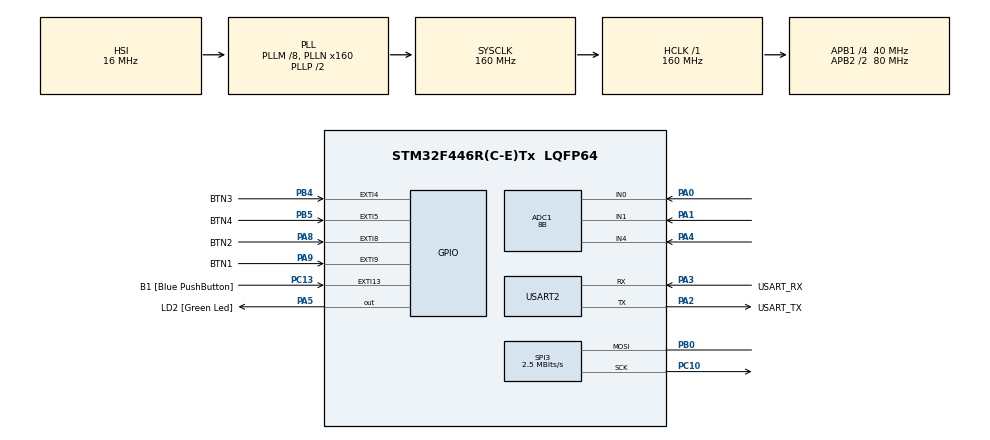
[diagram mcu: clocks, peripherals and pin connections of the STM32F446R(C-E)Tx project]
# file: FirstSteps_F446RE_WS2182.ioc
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ADC1.Channel-0\#ChannelRegularConversion=ADC_CHANNEL_0
ADC1.Channel-1\#ChannelRegularConversion=ADC_CHANNEL_1
ADC1.Channel-2\#ChannelRegularConversion=ADC_CHANNEL_4
ADC1.NbrOfConversion=3
ADC1.NbrOfConversionFlag=1
ADC1.Rank-0\#ChannelRegularConversion=1
ADC1.Rank-1\#ChannelRegularConversion=2
ADC1.Rank-2\#ChannelRegularConversion=3
ADC1.Resolution=ADC_RESOLUTION_8B
ADC1.SamplingTime-0\#ChannelRegularConversion=ADC_SAMPLETIME_480CYCLES
ADC1.SamplingTime-1\#ChannelRegularConversion=ADC_SAMPLETIME_480CYCLES
ADC1.SamplingTime-2\#ChannelRegularConversion=ADC_SAMPLETIME_480CYCLES
ADC1.ScanConvMode=ENABLE
ADC1.master=1
Dma.ADC1.0.Direction=DMA_PERIPH_TO_MEMORY
Dma.ADC1.0.FIFOMode=DMA_FIFOMODE_DISABLE
Dma.ADC1.0.Instance=DMA2_Stream0
Dma.ADC1.0.MemDataAlignment=DMA_MDATAALIGN_HALFWORD
Dma.ADC1.0.MemInc=DMA_MINC_ENABLE
Dma.ADC1.0.Mode=DMA_NORMAL
Dma.ADC1.0.PeriphDataAlignment=DMA_PDATAALIGN_HALFWORD
Dma.ADC1.0.PeriphInc=DMA_PINC_DISABLE
Dma.ADC1.0.Priority=DMA_PRIORITY_LOW
Dma.Request0=ADC1
Dma.Request1=SPI3_TX
Dma.SPI3_TX.1.Direction=DMA_MEMORY_TO_PERIPH
Dma.SPI3_TX.1.FIFOMode=DMA_FIFOMODE_DISABLE
Dma.SPI3_TX.1.Instance=DMA1_Stream5
Dma.SPI3_TX.1.MemDataAlignment=DMA_MDATAALIGN_BYTE
Dma.SPI3_TX.1.MemInc=DMA_MINC_ENABLE
Dma.SPI3_TX.1.Mode=DMA_NORMAL
Dma.SPI3_TX.1.PeriphDataAlignment=DMA_PDATAALIGN_BYTE
Dma.SPI3_TX.1.PeriphInc=DMA_PINC_DISABLE
Dma.SPI3_TX.1.Priority=DMA_PRIORITY_LOW
Mcu.Family=STM32F4
Mcu.Name=STM32F446R(C-E)Tx
Mcu.Package=LQFP64
NVIC.ADC_IRQn=true\:0\:0\:false\:false\:true\:true\:true\:true
NVIC.DMA1_Stream5_IRQn=true\:0\:0\:false\:false\:true\:false\:true\:true
NVIC.DMA2_Stream0_IRQn=true\:0\:0\:false\:false\:true\:false\:true\:true
NVIC.EXTI4_IRQn=true\:0\:0\:false\:false\:true\:true\:true\:true
NVIC.EXTI9_5_IRQn=true\:0\:0\:false\:false\:true\:true\:true\:true
NVIC.PriorityGroup=NVIC_PRIORITYGROUP_0
NVIC.TIM3_IRQn=true\:0\:0\:false\:false\:true\:true\:true\:true
NVIC.USART2_IRQn=true\:0\:0\:true\:false\:true\:true\:true\:true
PA0-WKUP.Signal=ADCx_IN0
PA1.Signal=ADCx_IN1
PA13.GPIO_Label=TMS
PA13.Mode=Serial_Wire
PA13.Signal=SYS_JTMS-SWDIO
PA14.GPIO_Label=TCK
PA14.Mode=Serial_Wire
PA14.Signal=SYS_JTCK-SWCLK
PA2.GPIO_Label=USART_TX
PA2.Mode=Asynchronous
PA2.Signal=USART2_TX
PA3.GPIO_Label=USART_RX
PA3.Mode=Asynchronous
PA3.Signal=USART2_RX
PA4.Signal=ADCx_IN4
PA5.GPIO_Label=LD2 [Green Led]
PA5.Signal=GPIO_Output
PA8.GPIO_Label=BTN2
PA8.GPIO_ModeDefaultEXTI=GPIO_MODE_IT_FALLING
PA8.GPIO_PuPd=GPIO_PULLUP
PA8.Signal=GPXTI8
PA9.GPIO_Label=BTN1
PA9.GPIO_ModeDefaultEXTI=GPIO_MODE_IT_RISING_FALLING
PA9.GPIO_PuPd=GPIO_PULLUP
PA9.Signal=GPXTI9
PB0.Mode=Simplex_Bidirectional_Master
PB0.Signal=SPI3_MOSI
PB3.GPIO_Label=SWO
PB3.Signal=SYS_JTDO-SWO
PB4.GPIO_Label=BTN3
PB4.GPIO_ModeDefaultEXTI=GPIO_MODE_IT_FALLING
PB4.GPIO_PuPd=GPIO_PULLUP
PB4.Signal=GPXTI4
PB5.GPIO_Label=BTN4
PB5.GPIO_ModeDefaultEXTI=GPIO_MODE_IT_FALLING
PB5.GPIO_PuPd=GPIO_PULLUP
PB5.Signal=GPXTI5
PC10.Mode=Simplex_Bidirectional_Master
PC10.Signal=SPI3_SCK
PC13.GPIO_Label=B1 [Blue PushButton]
PC13.GPIO_ModeDefaultEXTI=GPIO_MODE_IT_FALLING
PC13.Signal=GPXTI13
PC14-OSC32_IN.Mode=LSE-External-Oscillator
PC14-OSC32_IN.Signal=RCC_OSC32_IN
PC15-OSC32_OUT.Mode=LSE-External-Oscillator
PC15-OSC32_OUT.Signal=RCC_OSC32_OUT
PH0-OSC_IN.Mode=HSE-External-Oscillator
PH0-OSC_IN.Signal=RCC_OSC_IN
PH1-OSC_OUT.Mode=HSE-External-Oscillator
PH1-OSC_OUT.Signal=RCC_OSC_OUT
ProjectManager.HeapSize=0x200
ProjectManager.StackSize=0x400
ProjectManager.TargetToolchain=STM32CubeIDE
RCC.48MHZClocksFreq_Value=84000000
RCC.AHBFreq_Value=160000000
RCC.APB1CLKDivider=RCC_HCLK_DIV4
RCC.APB1Freq_Value=40000000
RCC.APB1TimFreq_Value=80000000
RCC.APB2CLKDivider=RCC_HCLK_DIV2
RCC.APB2Freq_Value=80000000
RCC.APB2TimFreq_Value=160000000
RCC.CortexFreq_Value=160000000
RCC.FLatency-AdvancedSettings=FLASH_LATENCY_5
RCC.HCLKFreq_Value=160000000
RCC.HSE_VALUE=8000000
RCC.HSI_VALUE=16000000
RCC.PLLM=8
RCC.PLLN=160
RCC.SYSCLKFreq_VALUE=160000000
RCC.SYSCLKSource=RCC_SYSCLKSOURCE_PLLCLK
RCC.USBFreq_Value=160000000
RCC.VCOOutputFreq_Value=320000000
SH.ADCx_IN0.0=ADC1_IN0,IN0
SH.ADCx_IN1.0=ADC1_IN1,IN1
SH.ADCx_IN4.0=ADC1_IN4,IN4
SPI3.BaudRatePrescaler=SPI_BAUDRATEPRESCALER_16
SPI3.CalculateBaudRate=2.5 MBits/s
SPI3.Direction=SPI_DIRECTION_1LINE
SPI3.Mode=SPI_MODE_MASTER
SPI3.VirtualType=VM_MASTER
TIM2.AutoReloadPreload=TIM_AUTORELOAD_PRELOAD_DISABLE
TIM2.Period=80000-1
TIM2.Prescaler=80-1
TIM3.Period=10000-1
TIM3.Prescaler=8000-1
USART2.VirtualMode=VM_ASYNC
VP_TIM2_VS_ClockSourceINT.Mode=Internal
VP_TIM3_VS_ClockSourceINT.Mode=Internal
board=NUCLEO-F446RE

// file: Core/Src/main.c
/* USER CODE BEGIN Header */
/**
  ******************************************************************************
  * @file           : main.c
  * @brief          : Main program body
  ******************************************************************************
  * @attention
  *
  * Copyright (c) 2024 STMicroelectronics.
  * All rights reserved.
  *
  * This software is licensed under terms that can be found in the LICENSE file
  * in the root directory of this software component.
  * If no LICENSE file comes with this software, it is provided AS-IS.
  *
  ******************************************************************************
  */
/* USER CODE END Header */
#include "main.h"

/* USER CODE BEGIN Includes */
#include "WS2812.h"
#include <math.h>
#include <stdio.h>
/* USER CODE END Includes */

/* USER CODE BEGIN PD */

// NOTE: It is not recommended to enable more than one example

// #define EXAMPLE_1
// #define EXAMPLE_2
// #define EXAMPLE_3
// #define SINGLE_COMET_EFFECT
// #define MULTI_COMET_EFFECT
// #define MANUAL_MULTI_COMET_EFFECT
// #define EXAMPLE_SIMPLE_METER_EFFECT
// #define EXAMPLE_MIRRORED_METER_EFFECT
// #define EXAMPLE_SIMPLE_GATED_STROBE
// #define EXAMPLE_VARIABLE_GATED_STROBE
// #define EXAMPLE_SCROLL_RAINBOW
// #define EXAMPLE_MANUAL_RAINBOW
// #define EXAMPLE_SCROLL_SATURATION
#define EXAMPLE_DRAW_LINE

// Should not be enabled if either EXAMPLE_SIMPLE_METER_EFFECT or EXAMPLE_MIRRORED_METER_EFFECT is enabled
//#define ENABLE_POTS_TO_BACKGROUND_COLOR
/* USER CODE END PD */

ADC_HandleTypeDef hadc1;
DMA_HandleTypeDef hdma_adc1;

SPI_HandleTypeDef hspi3;
DMA_HandleTypeDef hdma_spi3_tx;

TIM_HandleTypeDef htim2;
TIM_HandleTypeDef htim3;

UART_HandleTypeDef huart2;

/* USER CODE BEGIN PV */
uint8_t iterations = 0;

uint16_t rawADCData[3];

#if defined(EXAMPLE_SIMPLE_METER_EFFECT) || defined(EXAMPLE_MIRRORED_METER_EFFECT)
uint8_t meterLevels[] = {0, 0, 0};
#endif

#ifdef EXAMPLE_VARIABLE_GATED_STROBE
uint32_t strobePeriodOffsetTicks = 0;
uint32_t strobeActiveTicks = 0;
#endif

#ifdef EXAMPLE_MANUAL_RAINBOW
static colorHSV hsv = {.hue = 0, .saturation = 1.0f, .value = 0.1f};
int8_t deltaHue = 0;
#endif

volatile uint16_t WS2812FramesSent;

#define UART_TRANSMIT_BUFFER_LENGTH 25
uint8_t UARTTransmitBuffer[UART_TRANSMIT_BUFFER_LENGTH];

/* USER CODE END PV */

void SystemClock_Config(void);
static void MX_GPIO_Init(void);
static void MX_DMA_Init(void);
static void MX_USART2_UART_Init(void);
static void MX_SPI3_Init(void);
static void MX_ADC1_Init(void);
static void MX_TIM2_Init(void);
static void MX_TIM3_Init(void);

/* USER CODE BEGIN 0 */
void HAL_GPIO_EXTI_Callback(uint16_t GPIO_Pin)
{
//	// Disable button interrupts
//	HAL_NVIC_DisableIRQ(EXTI4_IRQn);
//	HAL_NVIC_DisableIRQ(EXTI9_5_IRQn);
//	HAL_NVIC_DisableIRQ(EXTI15_10_IRQn);
//
//	// Start debounce timer
//	HAL_TIM_Base_Start_IT(&htim6);

#ifdef MANUAL_MULTI_COMET_EFFECT
	colorRGB color;

	switch(GPIO_Pin)
	{
		case BTN1_Pin:
			color.red = 96;
			color.green = 0;
			color.blue = 0;

			WS2812_AddComet(color, 2, 1, true);
			break;
		case BTN2_Pin:
			color.red = 0;
			color.green = 96;
			color.blue = 0;

			WS2812_AddComet(color, 2, 1, true);
			break;
		case BTN3_Pin:
			color.red = 0;
			color.green = 0;
			color.blue = 96;

			WS2812_AddComet(color, 2, 1, true);
			break;
		case BTN4_Pin:
			color.red = 96;
			color.green = 96;
			color.blue = 96;

			WS2812_AddComet(color, 2, 1, true);
			break;
	}
#endif

#if defined(EXAMPLE_SIMPLE_GATED_STROBE) || defined(EXAMPLE_VARIABLE_GATED_STROBE)
	if(GPIO_Pin == BTN1_Pin)
	{
		if(!HAL_GPIO_ReadPin(BTN1_GPIO_Port, BTN1_Pin))
		{
			HAL_TIM_Base_Start(&htim2);
		}
		else
		{
			HAL_TIM_Base_Stop(&htim2);
			htim2.Instance->CNT = 0;
		}
	}
#endif
}

void HAL_ADC_ConvCpltCallback(ADC_HandleTypeDef *hadc)
{
#ifdef ENABLE_POTS_TO_BACKGROUND_COLOR
	// TODO: Add threshold or other system to prevent noise picked up by the ADC from turning on the LEDs
	// Masking out the LSBs works, but significantly reduces the resolution of the brightness control

	// >> 3 to scale to comfortable range
//	WS2812_SetBackgroundColor(rawADCData[0] >> 3, rawADCData[1] >> 3, rawADCData[2] >> 3);

	colorRGB rgb = WS2812_HSVToRGB((uint16_t)(((float)rawADCData[0] * 360) / 256.0f), ((float)rawADCData[1]) / 255.0f, ((float)rawADCData[2]) / 255.0f);

	WS2812_SetBackgroundColor(rgb.red, rgb.green, rgb.blue);
#endif
#if defined(EXAMPLE_SIMPLE_METER_EFFECT) || defined(EXAMPLE_MIRRORED_METER_EFFECT)
	meterLevels[0] = rawADCData[0] >> 1;
	meterLevels[1] = rawADCData[1] >> 1;
	meterLevels[2] = rawADCData[2] >> 1;
#endif

#ifdef EXAMPLE_VARIABLE_GATED_STROBE
	strobePeriodOffsetTicks = 80000 + (rawADCData[0] << 9);
	htim2.Instance->ARR = strobePeriodOffsetTicks;

	// Changing the auto-reload register (ARR) with an input clock this fast occasionally allows the count (CNT)
		// register to exceed the ARR and preventing it from resetting at that value
	// As a result, we have to add our own reset condition to prevent this from happening.
	if(htim2.Instance->CNT > htim2.Instance->ARR)
	{
		htim2.Instance->CNT = 0;
	}

	// Map ADC channel 1 to strobe active period
	// ADC is configured in 8-bit mode, so we multiply by the channel value divide by the max value (256)
		// to scale the measured value relative to the period
	// Bit shifting is faster than dividing, so we right shift by 8 instead of dividing by 256
	strobeActiveTicks = (strobePeriodOffsetTicks * rawADCData[1]) >> 8;

	// Reverse active and inactive periods
	strobeActiveTicks = strobePeriodOffsetTicks - strobeActiveTicks;
#endif

#ifdef EXAMPLE_MANUAL_RAINBOW
	hsv.hue = (uint16_t)(((float)rawADCData[0] * 360) / 256.0f);
//	deltaHue = 127 - ((int8_t)(rawADCData[1]));
	deltaHue = (int8_t)(rawADCData[1] >> 1);
#endif
}

#ifdef ENABLE_PERFORMANCE_MONITOR
void HAL_TIM_PeriodElapsedCallback(TIM_HandleTypeDef *htim)
{
	// FPS timer
	if(htim == &htim3)
	{
		// String operations are too slow to have in an ISR, even if preempted by a higher priority interrupt
		sprintf((char *)UARTTransmitBuffer, "%d fps\n", WS2812FramesSent);

		HAL_UART_Transmit_IT(&huart2, UARTTransmitBuffer, UART_TRANSMIT_BUFFER_LENGTH);

		// Reset frame counter
		WS2812FramesSent = 0;
	}
}
#endif

/* USER CODE END 0 */

int main(void)
{

  /* MCU Configuration--------------------------------------------------------*/

  /* Reset of all peripherals, Initializes the Flash interface and the Systick. */
  HAL_Init();

  /* Configure the system clock */
  SystemClock_Config();

  /* Initialize all configured peripherals */
  MX_GPIO_Init();
  MX_DMA_Init();
  MX_USART2_UART_Init();
  MX_SPI3_Init();
  MX_ADC1_Init();
  MX_TIM2_Init();
  MX_TIM3_Init();
  /* USER CODE BEGIN 2 */
  // Initialize all LEDs to off
  WS2812_ClearLEDs();
  WS2812_SetBackgroundColor(0, 0, 0);
  WS2812_SendAll();

#if defined(MULTI_COMET_EFFECT) || defined(MANUAL_MULTI_COMET_EFFECT)
  WS2812_InitMultiCometEffect();
#endif

#ifdef ENABLE_PERFORMANCE_MONITOR
  HAL_TIM_Base_Start_IT(&htim3);
#endif

  /* USER CODE END 2 */

  /* Infinite loop */
  /* USER CODE BEGIN WHILE */
  while (1)
  {
#ifdef EXAMPLE_1
	  // Color values can be between 0 and 255, but 255 is really bright!
	for(int i = 0; i < NUM_LOGICAL_LEDS; i++)
	{
		WS2812_SetLED(i, 8, 0, 0, false);
	}
	WS2812_SendAll();
	HAL_Delay(1000);

	for(int i = 0; i < NUM_LOGICAL_LEDS; i++)
	{
		WS2812_SetLED(i, 0, 8, 0, false);
	}
	WS2812_SendAll();
	HAL_Delay(1000);

	for(int i = 0; i < NUM_LOGICAL_LEDS; i++)
	{
		WS2812_SetLED(i, 0, 0, 8, false);
	}
	WS2812_SendAll();
	HAL_Delay(1000);
#endif
#ifdef EXAMPLE_2
	for(int i = 0; i < 128; i++)
	{
		for(int led = 0; led < NUM_LOGICAL_LEDS; led++)
		{
			WS2812_SetLED(led, i, i, i, false);
		}
		WS2812_SendAll();
		HAL_Delay(10);
	}
	for(int i = 128; i >= 0; i--)
	{
		for(int led = 0; led < NUM_LOGICAL_LEDS; led++)
		{
			WS2812_SetLED(led, i, i, i, false);
		}
		WS2812_SendAll();
		HAL_Delay(10);
	}
#endif
#ifdef EXAMPLE_3
	WS2812_SetLED(0, 64, 64, 64, false);
	WS2812_SendAll();

	uint8_t shiftAmount = 1;
	for(int j = 0; j < NUM_LOGICAL_LEDS / shiftAmount; j++)
	{
		if(j % 10 == 0)
		{
			WS2812_SetLED(0, 64, 64, 64, false);
		}

		WS2812_ShiftLEDs(shiftAmount);
		WS2812_SendAll();
		HAL_Delay(12);
	}
#endif
#ifdef SINGLE_COMET_EFFECT
	WS2812_CometEffect();
	WS2812_SendAll();
	HAL_Delay(10);
#endif
#ifdef MULTI_COMET_EFFECT
	if(iterations > 50)
	{
		iterations = 0;

		colorRGB color;
		color.red = 64;
		color.green = 64;
		color.blue = 64;

		WS2812_AddComet(color, 2, 1, true);
	}
	WS2812_MultiCometEffect();
	WS2812_SendAll();
	iterations++;

	HAL_Delay(16);
#endif
#ifdef MANUAL_MULTI_COMET_EFFECT
	WS2812_MultiCometEffect();
	WS2812_SendAll();
#endif

#ifdef EXAMPLE_SIMPLE_METER_EFFECT
	WS2812_ClearLEDs();

	colorRGB meterColor = {.red = 32, .green = 32, .blue = 0};
	WS2812_SimpleMeterEffect(meterColor, meterLevels[0], false, false, true);
	meterColor.red = 0;
	meterColor.green = 32;
	meterColor.blue = 32;
	WS2812_SimpleMeterEffect(meterColor, meterLevels[1], false, false, true);
	meterColor.red = 32;
	meterColor.green = 0;
	meterColor.blue = 32;
	WS2812_SimpleMeterEffect(meterColor, meterLevels[2], false, false, true);
	WS2812_SendAll();
#endif

#ifdef EXAMPLE_MIRRORED_METER_EFFECT
	WS2812_ClearLEDs();
	colorRGB meterColor = {.red = 32, .green = 32, .blue = 0};
	WS2812_MirroredMeterEffect(meterColor, meterLevels[0], false, false, true);
	meterColor.red = 0;
	meterColor.green = 32;
	meterColor.blue = 32;
	WS2812_MirroredMeterEffect(meterColor, meterLevels[1], true, false, true);
	meterColor.red = 32;
	meterColor.green = 0;
	meterColor.blue = 32;
	WS2812_MirroredMeterEffect(meterColor, meterLevels[2], true, false, true);
	WS2812_SendAll();
#endif

#ifdef EXAMPLE_SIMPLE_GATED_STROBE
	if(htim2.Instance->CNT > 40000)
	{
		WS2812_SetAllLEDs(32, 32, 32);
	}
	else
	{
		WS2812_SetAllLEDs(0, 0, 0);
	}

	WS2812_SendAll();
#endif

#ifdef EXAMPLE_VARIABLE_GATED_STROBE
	if(htim2.Instance->CNT > strobeActiveTicks)
	{
		WS2812_SetAllLEDs(32, 32, 32);
	}
	else
	{
		WS2812_SetAllLEDs(0, 0, 0);
	}

	WS2812_SendAll();
#endif

#ifdef EXAMPLE_SCROLL_RAINBOW
	static colorHSV hsv = {.hue = 0, .saturation = 1.0f, .value = 0.2f};

	hsv.hue = (hsv.hue < 360) ? hsv.hue + 1 : 0;

	WS2812_FillRainbow(hsv, 3);

	WS2812_SendAll();
#endif

#ifdef EXAMPLE_MANUAL_RAINBOW
	WS2812_FillRainbow(hsv, deltaHue);

	WS2812_SendAll();
#endif

#ifdef EXAMPLE_SCROLL_SATURATION
	static colorHSV hsv = {.hue = 245, .saturation = 1.0f, .value = 0.1f};
	const float deltaStartingSaturation = 0.02;
	const float deltaSaturation = 0.05;

	static float startingPhase = 0.0f;

	startingPhase = (2.0f - startingPhase < 0.001) ? 2.0f : startingPhase - deltaStartingSaturation;

	// Fill each LED
	float currentSaturation = hsv.saturation;
	for(int i = 0; i < NUM_LOGICAL_LEDS; i++)
	{
		currentSaturation = 0.5 * sin((i * deltaSaturation + startingPhase) * 3.141) + 0.5;

		colorRGB rgb = WS2812_HSVToRGB(hsv.hue, currentSaturation, hsv.value);
		WS2812_SetLED(i, rgb.red, rgb.green, rgb.blue, false);
	}

	WS2812_SendAll();
#endif

#ifdef EXAMPLE_DRAW_LINE
	static float x = 0.0f;

	WS2812_DrawLine(x, 3.5, 32, 32, 32, false);

	// Increment LED position by small fraction
	x += 0.05f;

	// Wrap LED position
	x = fmodf(x, 30);

	WS2812_SendAll();

	// Clear trailing LEDs
	WS2812_ClearLEDs();

	HAL_Delay(10);
#endif

	HAL_ADC_Start_DMA(&hadc1, (uint32_t *) rawADCData, 3);
    /* USER CODE END WHILE */

  }
}

void SystemClock_Config(void)
{
  RCC_OscInitTypeDef RCC_OscInitStruct = {0};
  RCC_ClkInitTypeDef RCC_ClkInitStruct = {0};

  /** Configure the main internal regulator output voltage
  */
  __HAL_RCC_PWR_CLK_ENABLE();
  __HAL_PWR_VOLTAGESCALING_CONFIG(PWR_REGULATOR_VOLTAGE_SCALE1);

  /** Initializes the RCC Oscillators according to the specified parameters
  * in the RCC_OscInitTypeDef structure.
  */
  RCC_OscInitStruct.OscillatorType = RCC_OSCILLATORTYPE_HSI;
  RCC_OscInitStruct.HSIState = RCC_HSI_ON;
  RCC_OscInitStruct.HSICalibrationValue = RCC_HSICALIBRATION_DEFAULT;
  RCC_OscInitStruct.PLL.PLLState = RCC_PLL_ON;
  RCC_OscInitStruct.PLL.PLLSource = RCC_PLLSOURCE_HSI;
  RCC_OscInitStruct.PLL.PLLM = 8;
  RCC_OscInitStruct.PLL.PLLN = 160;
  RCC_OscInitStruct.PLL.PLLP = RCC_PLLP_DIV2;
  RCC_OscInitStruct.PLL.PLLQ = 2;
  RCC_OscInitStruct.PLL.PLLR = 2;
  if (HAL_RCC_OscConfig(&RCC_OscInitStruct) != HAL_OK)
  {
    Error_Handler();
  }

  /** Initializes the CPU, AHB and APB buses clocks
  */
  RCC_ClkInitStruct.ClockType = RCC_CLOCKTYPE_HCLK|RCC_CLOCKTYPE_SYSCLK
                              |RCC_CLOCKTYPE_PCLK1|RCC_CLOCKTYPE_PCLK2;
  RCC_ClkInitStruct.SYSCLKSource = RCC_SYSCLKSOURCE_PLLCLK;
  RCC_ClkInitStruct.AHBCLKDivider = RCC_SYSCLK_DIV1;
  RCC_ClkInitStruct.APB1CLKDivider = RCC_HCLK_DIV4;
  RCC_ClkInitStruct.APB2CLKDivider = RCC_HCLK_DIV2;

  if (HAL_RCC_ClockConfig(&RCC_ClkInitStruct, FLASH_LATENCY_5) != HAL_OK)
  {
    Error_Handler();
  }
}

static void MX_ADC1_Init(void)
{

  ADC_ChannelConfTypeDef sConfig = {0};

  /** Configure the global features of the ADC (Clock, Resolution, Data Alignment and number of conversion)
  */
  hadc1.Instance = ADC1;
  hadc1.Init.ClockPrescaler = ADC_CLOCK_SYNC_PCLK_DIV4;
  hadc1.Init.Resolution = ADC_RESOLUTION_8B;
  hadc1.Init.ScanConvMode = ENABLE;
  hadc1.Init.ContinuousConvMode = DISABLE;
  hadc1.Init.DiscontinuousConvMode = DISABLE;
  hadc1.Init.ExternalTrigConvEdge = ADC_EXTERNALTRIGCONVEDGE_NONE;
  hadc1.Init.ExternalTrigConv = ADC_SOFTWARE_START;
  hadc1.Init.DataAlign = ADC_DATAALIGN_RIGHT;
  hadc1.Init.NbrOfConversion = 3;
  hadc1.Init.DMAContinuousRequests = DISABLE;
  hadc1.Init.EOCSelection = ADC_EOC_SINGLE_CONV;
  if (HAL_ADC_Init(&hadc1) != HAL_OK)
  {
    Error_Handler();
  }

  /** Configure for the selected ADC regular channel its corresponding rank in the sequencer and its sample time.
  */
  sConfig.Channel = ADC_CHANNEL_0;
  sConfig.Rank = 1;
  sConfig.SamplingTime = ADC_SAMPLETIME_480CYCLES;
  if (HAL_ADC_ConfigChannel(&hadc1, &sConfig) != HAL_OK)
  {
    Error_Handler();
  }

  /** Configure for the selected ADC regular channel its corresponding rank in the sequencer and its sample time.
  */
  sConfig.Channel = ADC_CHANNEL_1;
  sConfig.Rank = 2;
  if (HAL_ADC_ConfigChannel(&hadc1, &sConfig) != HAL_OK)
  {
    Error_Handler();
  }

  /** Configure for the selected ADC regular channel its corresponding rank in the sequencer and its sample time.
  */
  sConfig.Channel = ADC_CHANNEL_4;
  sConfig.Rank = 3;
  if (HAL_ADC_ConfigChannel(&hadc1, &sConfig) != HAL_OK)
  {
    Error_Handler();
  }

}

static void MX_SPI3_Init(void)
{

  /* SPI3 parameter configuration*/
  hspi3.Instance = SPI3;
  hspi3.Init.Mode = SPI_MODE_MASTER;
  hspi3.Init.Direction = SPI_DIRECTION_1LINE;
  hspi3.Init.DataSize = SPI_DATASIZE_8BIT;
  hspi3.Init.CLKPolarity = SPI_POLARITY_LOW;
  hspi3.Init.CLKPhase = SPI_PHASE_1EDGE;
  hspi3.Init.NSS = SPI_NSS_SOFT;
  hspi3.Init.BaudRatePrescaler = SPI_BAUDRATEPRESCALER_16;
  hspi3.Init.FirstBit = SPI_FIRSTBIT_MSB;
  hspi3.Init.TIMode = SPI_TIMODE_DISABLE;
  hspi3.Init.CRCCalculation = SPI_CRCCALCULATION_DISABLE;
  hspi3.Init.CRCPolynomial = 10;
  if (HAL_SPI_Init(&hspi3) != HAL_OK)
  {
    Error_Handler();
  }

}

static void MX_TIM2_Init(void)
{

  TIM_ClockConfigTypeDef sClockSourceConfig = {0};
  TIM_MasterConfigTypeDef sMasterConfig = {0};

  htim2.Instance = TIM2;
  htim2.Init.Prescaler = 80-1;
  htim2.Init.CounterMode = TIM_COUNTERMODE_UP;
  htim2.Init.Period = 80000-1;
  htim2.Init.ClockDivision = TIM_CLOCKDIVISION_DIV1;
  htim2.Init.AutoReloadPreload = TIM_AUTORELOAD_PRELOAD_DISABLE;
  if (HAL_TIM_Base_Init(&htim2) != HAL_OK)
  {
    Error_Handler();
  }
  sClockSourceConfig.ClockSource = TIM_CLOCKSOURCE_INTERNAL;
  if (HAL_TIM_ConfigClockSource(&htim2, &sClockSourceConfig) != HAL_OK)
  {
    Error_Handler();
  }
  sMasterConfig.MasterOutputTrigger = TIM_TRGO_RESET;
  sMasterConfig.MasterSlaveMode = TIM_MASTERSLAVEMODE_DISABLE;
  if (HAL_TIMEx_MasterConfigSynchronization(&htim2, &sMasterConfig) != HAL_OK)
  {
    Error_Handler();
  }

}

static void MX_TIM3_Init(void)
{

  TIM_ClockConfigTypeDef sClockSourceConfig = {0};
  TIM_MasterConfigTypeDef sMasterConfig = {0};

  htim3.Instance = TIM3;
  htim3.Init.Prescaler = 8000-1;
  htim3.Init.CounterMode = TIM_COUNTERMODE_UP;
  htim3.Init.Period = 10000-1;
  htim3.Init.ClockDivision = TIM_CLOCKDIVISION_DIV1;
  htim3.Init.AutoReloadPreload = TIM_AUTORELOAD_PRELOAD_DISABLE;
  if (HAL_TIM_Base_Init(&htim3) != HAL_OK)
  {
    Error_Handler();
  }
  sClockSourceConfig.ClockSource = TIM_CLOCKSOURCE_INTERNAL;
  if (HAL_TIM_ConfigClockSource(&htim3, &sClockSourceConfig) != HAL_OK)
  {
    Error_Handler();
  }
  sMasterConfig.MasterOutputTrigger = TIM_TRGO_RESET;
  sMasterConfig.MasterSlaveMode = TIM_MASTERSLAVEMODE_DISABLE;
  if (HAL_TIMEx_MasterConfigSynchronization(&htim3, &sMasterConfig) != HAL_OK)
  {
    Error_Handler();
  }

}

static void MX_USART2_UART_Init(void)
{

  huart2.Instance = USART2;
  huart2.Init.BaudRate = 115200;
  huart2.Init.WordLength = UART_WORDLENGTH_8B;
  huart2.Init.StopBits = UART_STOPBITS_1;
  huart2.Init.Parity = UART_PARITY_NONE;
  huart2.Init.Mode = UART_MODE_TX_RX;
  huart2.Init.HwFlowCtl = UART_HWCONTROL_NONE;
  huart2.Init.OverSampling = UART_OVERSAMPLING_16;
  if (HAL_UART_Init(&huart2) != HAL_OK)
  {
    Error_Handler();
  }

}

static void MX_DMA_Init(void)
{

  /* DMA controller clock enable */
  __HAL_RCC_DMA2_CLK_ENABLE();
  __HAL_RCC_DMA1_CLK_ENABLE();

  /* DMA interrupt init */
  /* DMA1_Stream5_IRQn interrupt configuration */
  HAL_NVIC_SetPriority(DMA1_Stream5_IRQn, 0, 0);
  HAL_NVIC_EnableIRQ(DMA1_Stream5_IRQn);
  /* DMA2_Stream0_IRQn interrupt configuration */
  HAL_NVIC_SetPriority(DMA2_Stream0_IRQn, 0, 0);
  HAL_NVIC_EnableIRQ(DMA2_Stream0_IRQn);

}

static void MX_GPIO_Init(void)
{
  GPIO_InitTypeDef GPIO_InitStruct = {0};

  /* GPIO Ports Clock Enable */
  __HAL_RCC_GPIOC_CLK_ENABLE();
  __HAL_RCC_GPIOH_CLK_ENABLE();
  __HAL_RCC_GPIOA_CLK_ENABLE();
  __HAL_RCC_GPIOB_CLK_ENABLE();

  /*Configure GPIO pin Output Level */
  HAL_GPIO_WritePin(LD2_GPIO_Port, LD2_Pin, GPIO_PIN_RESET);

  /*Configure GPIO pin : B1_Pin */
  GPIO_InitStruct.Pin = B1_Pin;
  GPIO_InitStruct.Mode = GPIO_MODE_IT_FALLING;
  GPIO_InitStruct.Pull = GPIO_NOPULL;
  HAL_GPIO_Init(B1_GPIO_Port, &GPIO_InitStruct);

  /*Configure GPIO pin : LD2_Pin */
  GPIO_InitStruct.Pin = LD2_Pin;
  GPIO_InitStruct.Mode = GPIO_MODE_OUTPUT_PP;
  GPIO_InitStruct.Pull = GPIO_NOPULL;
  GPIO_InitStruct.Speed = GPIO_SPEED_FREQ_LOW;
  HAL_GPIO_Init(LD2_GPIO_Port, &GPIO_InitStruct);

  /*Configure GPIO pin : BTN2_Pin */
  GPIO_InitStruct.Pin = BTN2_Pin;
  GPIO_InitStruct.Mode = GPIO_MODE_IT_FALLING;
  GPIO_InitStruct.Pull = GPIO_PULLUP;
  HAL_GPIO_Init(BTN2_GPIO_Port, &GPIO_InitStruct);

  /*Configure GPIO pin : BTN1_Pin */
  GPIO_InitStruct.Pin = BTN1_Pin;
  GPIO_InitStruct.Mode = GPIO_MODE_IT_RISING_FALLING;
  GPIO_InitStruct.Pull = GPIO_PULLUP;
  HAL_GPIO_Init(BTN1_GPIO_Port, &GPIO_InitStruct);

  /*Configure GPIO pins : BTN3_Pin BTN4_Pin */
  GPIO_InitStruct.Pin = BTN3_Pin|BTN4_Pin;
  GPIO_InitStruct.Mode = GPIO_MODE_IT_FALLING;
  GPIO_InitStruct.Pull = GPIO_PULLUP;
  HAL_GPIO_Init(GPIOB, &GPIO_InitStruct);

  /* EXTI interrupt init*/
  HAL_NVIC_SetPriority(EXTI4_IRQn, 0, 0);
  HAL_NVIC_EnableIRQ(EXTI4_IRQn);

  HAL_NVIC_SetPriority(EXTI9_5_IRQn, 0, 0);
  HAL_NVIC_EnableIRQ(EXTI9_5_IRQn);

}

void Error_Handler(void)
{
  __disable_irq();
  while (1)
  {
  }
}
